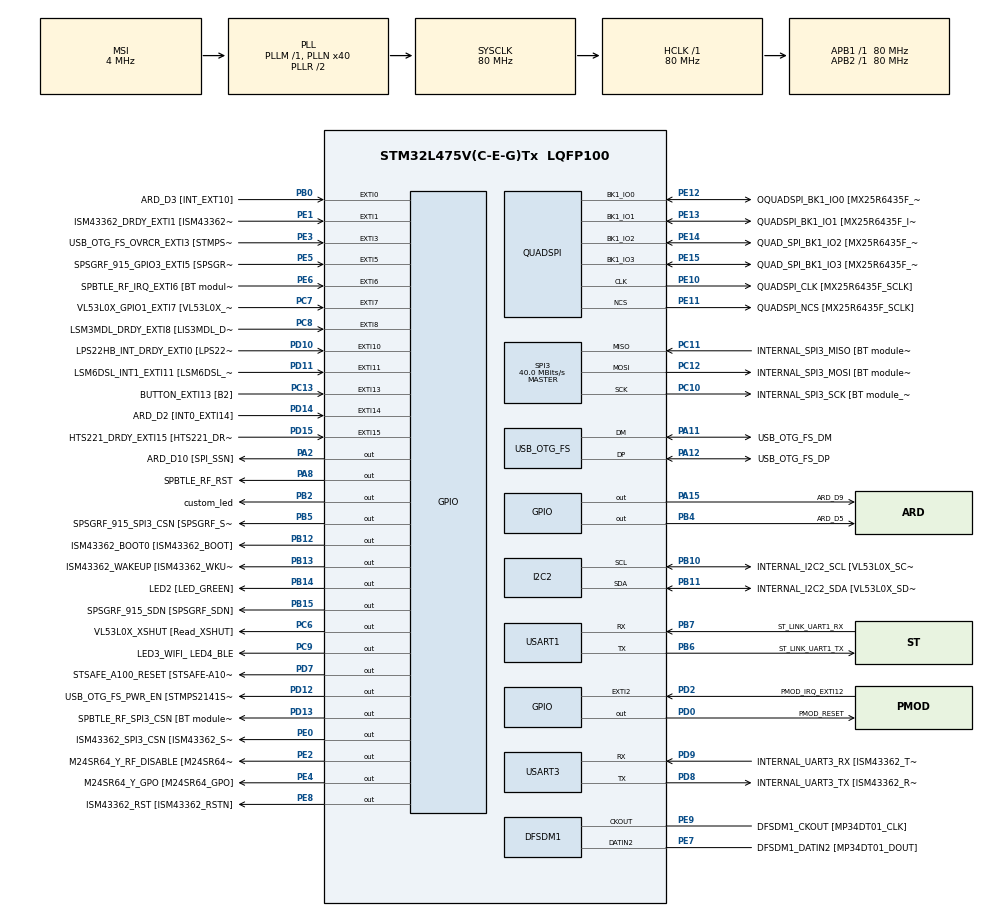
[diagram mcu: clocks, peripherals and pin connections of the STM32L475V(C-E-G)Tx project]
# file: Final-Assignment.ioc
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I2C2.Timing=0x10909CEC
Mcu.Family=STM32L4
Mcu.Name=STM32L475V(C-E-G)Tx
Mcu.Package=LQFP100
NVIC.EXTI15_10_IRQn=true\:0\:0\:false\:false\:true\:true\:true\:true
NVIC.EXTI9_5_IRQn=true\:0\:0\:false\:false\:true\:true\:true\:true
NVIC.PriorityGroup=NVIC_PRIORITYGROUP_4
PA0.GPIO_Label=ARD_D1 [UART4_TX]
PA0.Signal=UART4_TX
PA1.GPIO_Label=ARD_D0 [UART4_RX]
PA1.Signal=UART4_RX
PA10.GPIO_Label=USB_OTG_FS_ID
PA10.Signal=USB_OTG_FS_ID
PA11.GPIO_Label=USB_OTG_FS_DM
PA11.Mode=Device_Only
PA11.Signal=USB_OTG_FS_DM
PA12.GPIO_Label=USB_OTG_FS_DP
PA12.Mode=Device_Only
PA12.Signal=USB_OTG_FS_DP
PA13\ (JTMS-SWDIO).GPIO_Label=SYS_JTMS_SWDIO
PA13\ (JTMS-SWDIO).Mode=Serial_Wire
PA13\ (JTMS-SWDIO).Signal=SYS_JTMS-SWDIO
PA14\ (JTCK-SWCLK).GPIO_Label=SYS_JTCK_SWCLK
PA14\ (JTCK-SWCLK).Mode=Serial_Wire
PA14\ (JTCK-SWCLK).Signal=SYS_JTCK-SWCLK
PA15\ (JTDI).GPIO_Label=ARD_D9
PA15\ (JTDI).Signal=GPIO_Output
PA2.GPIO_Label=ARD_D10 [SPI_SSN]
PA2.Signal=GPIO_Output
PA3.GPIO_Label=ARD_D4
PA3.Signal=S_TIM2_CH4
PA4.GPIO_Label=ARD_D7
PA4.Signal=ADCx_IN9
PA5.GPIO_Label=ARD_D13 [SPI1_SCK]
PA5.Signal=SPI1_SCK
PA6.GPIO_Label=ARD_D12 [SPI1_MISO]
PA6.Signal=SPI1_MISO
PA7.GPIO_Label=ARD_D11 [SPI1_MOSI]
PA7.Signal=SPI1_MOSI
PA8.GPIO_Label=SPBTLE_RF_RST
PA8.Signal=GPIO_Output
PA9.GPIO_Label=USB_OTG_FS_VBUS [STMPS2141STR_OUT]
PA9.Signal=USB_OTG_FS_VBUS
PB0.GPIO_Label=ARD_D3 [INT_EXT10]
PB0.Signal=GPXTI0
PB1.GPIO_Label=ARD_D6 [ADC1_IN6]
PB1.Signal=ADCx_IN16
PB10.GPIO_Label=INTERNAL_I2C2_SCL [VL53L0X_SCL]
PB10.GPIO_Pu=GPIO_PULLUP
PB10.Mode=I2C
PB10.Signal=I2C2_SCL
PB11.GPIO_Label=INTERNAL_I2C2_SDA [VL53L0X_SDA]
PB11.GPIO_Pu=GPIO_PULLUP
PB11.Mode=I2C
PB11.Signal=I2C2_SDA
PB12.GPIO_Label=ISM43362_BOOT0 [ISM43362_BOOT]
PB12.Signal=GPIO_Output
PB13.GPIO_Label=ISM43362_WAKEUP [ISM43362_WKUP]
PB13.Signal=GPIO_Output
PB14.GPIO_Label=LED2 [LED_GREEN]
PB14.Signal=GPIO_Output
PB15.GPIO_Label=SPSGRF_915_SDN [SPSGRF_SDN]
PB15.Signal=GPIO_Output
PB2.GPIO_Label=custom_led
PB2.Signal=GPIO_Output
PB3\ (JTDO-TRACESWO).GPIO_Label=SYS_JTD0_SWO
PB3\ (JTDO-TRACESWO).Signal=SYS_JTDO-SWO
PB4\ (NJTRST).GPIO_Label=ARD_D5
PB4\ (NJTRST).Signal=GPIO_Output
PB5.GPIO_Label=SPSGRF_915_SPI3_CSN [SPSGRF_SPI_CS]
PB5.PinState=GPIO_PIN_SET
PB5.Signal=GPIO_Output
PB6.GPIO_Label=ST_LINK_UART1_TX
PB6.Mode=Asynchronous
PB6.Signal=USART1_TX
PB7.GPIO_Label=ST_LINK_UART1_RX
PB7.Mode=Asynchronous
PB7.Signal=USART1_RX
PB8.GPIO_Label=ARD_D15 [I2C1_SCL]
PB8.Signal=I2C1_SCL
PB9.GPIO_Label=ARD_D14 [I2C1_SDA]
PB9.Signal=I2C1_SDA
PC0.GPIO_Label=ARD_A5 [ADC]
PC0.Signal=ADCx_IN1
PC1.GPIO_Label=ARD_A4 [ADC]
PC1.Signal=ADCx_IN2
PC10.GPIO_Label=INTERNAL_SPI3_SCK [BT module_SPI_SCLK] [ISM43362_SCK]
PC10.Mode=Full_Duplex_Master
PC10.Signal=SPI3_SCK
PC11.GPIO_Label=INTERNAL_SPI3_MISO [BT module_SPI_MISO] [ISM43362_MISO]
PC11.Mode=Full_Duplex_Master
PC11.Signal=SPI3_MISO
PC12.GPIO_Label=INTERNAL_SPI3_MOSI [BT module_SPI_MOSI] [ISM43362_MOSI]
PC12.Mode=Full_Duplex_Master
PC12.Signal=SPI3_MOSI
PC13.GPIO_Label=BUTTON_EXTI13 [B2]
PC13.GPIO_ModeDefaultEXTI=GPIO_MODE_IT_FALLING
PC13.Signal=GPXTI13
PC14-OSC32_IN\ (PC14).Mode=LSE-External-Oscillator
PC14-OSC32_IN\ (PC14).Signal=RCC_OSC32_IN
PC15-OSC32_OUT\ (PC15).Mode=LSE-External-Oscillator
PC15-OSC32_OUT\ (PC15).Signal=RCC_OSC32_OUT
PC2.GPIO_Label=ARD_A3 [ADC]
PC2.Signal=ADCx_IN3
PC3.GPIO_Label=ARD_A2 [ADC]
PC3.Signal=ADCx_IN4
PC4.GPIO_Label=ARD_A1 [ADC]
PC4.Signal=ADCx_IN13
PC5.GPIO_Label=ARD_A0 [ADC]
PC5.Signal=ADCx_IN14
PC6.GPIO_Label=VL53L0X_XSHUT [Read_XSHUT]
PC6.Signal=GPIO_Output
PC7.GPIO_Label=VL53L0X_GPIO1_EXTI7 [VL53L0X_GPIO1]
PC7.Signal=GPXTI7
PC8.GPIO_Label=LSM3MDL_DRDY_EXTI8 [LIS3MDL_DRDY]
PC8.Signal=GPXTI8
PC9.GPIO_Label=LED3_WIFI_ LED4_BLE
PC9.Signal=GPIO_Output
PD0.GPIO_Label=PMOD_RESET
PD0.Signal=GPIO_Output
PD1.GPIO_Label=PMOD_SPI2_SCK
PD1.Signal=SPI2_SCK
PD10.GPIO_Label=LPS22HB_INT_DRDY_EXTI0 [LPS22HB_INT_DRDY] 
PD10.Signal=GPXTI10
PD11.GPIO_Label=LSM6DSL_INT1_EXTI11 [LSM6DSL_INT1]
PD11.Signal=GPXTI11
PD12.GPIO_Label=USB_OTG_FS_PWR_EN [STMPS2141STR_EN]
PD12.Signal=GPIO_Output
PD13.GPIO_Label=SPBTLE_RF_SPI3_CSN [BT module_SPI_CS]
PD13.PinState=GPIO_PIN_SET
PD13.Signal=GPIO_Output
PD14.GPIO_Label=ARD_D2 [INT0_EXTI14]
PD14.Signal=GPXTI14
PD15.GPIO_Label=HTS221_DRDY_EXTI15 [HTS221_DRDY]
PD15.Signal=GPXTI15
PD2.GPIO_Label=PMOD_IRQ_EXTI12
PD2.Signal=GPXTI2
PD3.GPIO_Label=PMOD_UART2_CTS
PD3.Signal=USART2_CTS
PD4.GPIO_Label=PMOD_UART2_RTS
PD4.Signal=USART2_RTS
PD5.GPIO_Label=PMOD_UART2_TX
PD5.Signal=USART2_TX
PD6.GPIO_Label=PMOD_UART2_RX
PD6.Signal=USART2_RX
PD7.GPIO_Label=STSAFE_A100_RESET [STSAFE-A100_RESET]
PD7.Signal=GPIO_Output
PD8.GPIO_Label=INTERNAL_UART3_TX [ISM43362_RX]
PD8.Mode=Asynchronous
PD8.Signal=USART3_TX
PD9.GPIO_Label=INTERNAL_UART3_RX [ISM43362_TX]
PD9.Mode=Asynchronous
PD9.Signal=USART3_RX
PE0.GPIO_Label=ISM43362_SPI3_CSN [ISM43362_SSN]
PE0.PinState=GPIO_PIN_SET
PE0.Signal=GPIO_Output
PE1.GPIO_Label=ISM43362_DRDY_EXTI1 [ISM43362_DATARDY]
PE1.Signal=GPXTI1
PE10.GPIO_Label=QUADSPI_CLK [MX25R6435F_SCLK]
PE10.Mode=Single Bank
PE10.Signal=QUADSPI_CLK
PE11.GPIO_Label=QUADSPI_NCS [MX25R6435F_SCLK]
PE11.Mode=Single Bank
PE11.Signal=QUADSPI_NCS
PE12.GPIO_Label=OQUADSPI_BK1_IO0 [MX25R6435F_IO0]
PE12.Mode=Single Bank
PE12.Signal=QUADSPI_BK1_IO0
PE13.GPIO_Label=QUADSPI_BK1_IO1 [MX25R6435F_IO1]
PE13.Mode=Single Bank
PE13.Signal=QUADSPI_BK1_IO1
PE14.GPIO_Label=QUAD_SPI_BK1_IO2 [MX25R6435F_IO2]
PE14.Mode=Single Bank
PE14.Signal=QUADSPI_BK1_IO2
PE15.GPIO_Label=QUAD_SPI_BK1_IO3 [MX25R6435F_IO3]
PE15.Mode=Single Bank
PE15.Signal=QUADSPI_BK1_IO3
PE2.GPIO_Label=M24SR64_Y_RF_DISABLE [M24SR64_RFDIS]
PE2.Signal=GPIO_Output
PE3.GPIO_Label=USB_OTG_FS_OVRCR_EXTI3 [STMPS2141STR_FAULT]
PE3.Signal=GPXTI3
PE4.GPIO_Label=M24SR64_Y_GPO [M24SR64_GPO]
PE4.Signal=GPIO_Output
PE5.GPIO_Label=SPSGRF_915_GPIO3_EXTI5 [SPSGRF_GPIO_3]
PE5.Signal=GPXTI5
PE6.GPIO_Label=SPBTLE_RF_IRQ_EXTI6 [BT module_SPI_IRQ]
PE6.Signal=GPXTI6
PE7.GPIO_Label=DFSDM1_DATIN2 [MP34DT01_DOUT]
PE7.Signal=S_DATAIN2DFSDM1
PE8.GPIO_Label=ISM43362_RST [ISM43362_RSTN]
PE8.Signal=GPIO_Output
PE9.GPIO_Label=DFSDM1_CKOUT [MP34DT01_CLK]
PE9.Signal=S_CKOUTDFSDM1
ProjectManager.HeapSize=0x200
ProjectManager.StackSize=0x400
ProjectManager.TargetToolchain=STM32CubeIDE
QUADSPI.ClockPrescaler=2
QUADSPI.FifoThreshold=4
QUADSPI.FlashSize=23
QUADSPI.SampleShifting=QSPI_SAMPLE_SHIFTING_HALFCYCLE
RCC.ADCFreq_Value=48000000
RCC.AHBFreq_Value=80000000
RCC.APB1Freq_Value=80000000
RCC.APB1TimFreq_Value=80000000
RCC.APB2Freq_Value=80000000
RCC.APB2TimFreq_Value=80000000
RCC.CortexFreq_Value=80000000
RCC.HCLKFreq_Value=80000000
RCC.HSE_VALUE=8000000
RCC.HSI_VALUE=16000000
RCC.MSI_VALUE=4000000
RCC.PLLN=40
RCC.PLLSAI1N=24
RCC.SYSCLKFreq_VALUE=80000000
RCC.SYSCLKSource=RCC_SYSCLKSOURCE_PLLCLK
RCC.USBFreq_Value=48000000
RCC.VCOOutputFreq_Value=160000000
SH.ADCx_IN1.0=ADC1_IN1
SH.ADCx_IN13.0=ADC1_IN13
SH.ADCx_IN14.0=ADC1_IN14
SH.ADCx_IN16.0=ADC1_IN16
SH.ADCx_IN2.0=ADC1_IN2
SH.ADCx_IN3.0=ADC1_IN3
SH.ADCx_IN4.0=ADC1_IN4
SH.ADCx_IN9.0=ADC1_IN9
SH.S_CKOUTDFSDM1.0=DFSDM1_CKOUT,CKOUT
SH.S_CKOUTDFSDM1.1=DFSDM1_CKOUT,PDM_SPI_Input_from_ch12_and_Internal_Clock
SH.S_DATAIN2DFSDM1.0=DFSDM1_DATIN2,PDM_SPI_Input_from_ch12_and_Internal_Clock
SH.S_TIM2_CH4.0=TIM2_CH4
SPI3.CalculateBaudRate=40.0 MBits/s
SPI3.Direction=SPI_DIRECTION_2LINES
SPI3.Mode=SPI_MODE_MASTER
SPI3.VirtualType=VM_MASTER
USART1.VirtualMode-Asynchronous=VM_ASYNC
USART3.VirtualMode-Asynchronous=VM_ASYNC
USB_OTG_FS.VirtualMode=Device_Only
board=B-L475E-IOT01A2

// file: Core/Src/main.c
/* USER CODE BEGIN Header */
/**
  ******************************************************************************
  * @file           : main.c
  * @brief          : Main program body
  ******************************************************************************
  * @attention
  *
  * Copyright (c) 2023 STMicroelectronics.
  * All rights reserved.
  *
  * This software is licensed under terms that can be found in the LICENSE file
  * in the root directory of this software component.
  * If no LICENSE file comes with this software, it is provided AS-IS.
  *
  ******************************************************************************
  */
/* USER CODE END Header */
#include "main.h"

/* USER CODE BEGIN Includes */
#include <string.h>
#include <stdio.h>
#include <math.h>
#include "stm32l475e_iot01.h"
#include "stm32l475e_iot01_tsensor.h"
/* USER CODE END Includes */

DFSDM_Channel_HandleTypeDef hdfsdm1_channel1;

I2C_HandleTypeDef hi2c2;

QSPI_HandleTypeDef hqspi;

SPI_HandleTypeDef hspi3;

UART_HandleTypeDef huart1;
UART_HandleTypeDef huart3;

PCD_HandleTypeDef hpcd_USB_OTG_FS;

/* USER CODE BEGIN PV */
uint8_t demo0_count = 0;
uint8_t demo1_count = 0;
uint8_t demo_count = 0;
char buf[100];
/* USER CODE END PV */

void SystemClock_Config(void);
static void MX_GPIO_Init(void);
static void MX_DFSDM1_Init(void);
static void MX_I2C2_Init(void);
static void MX_QUADSPI_Init(void);
static void MX_SPI3_Init(void);
static void MX_USART1_UART_Init(void);
static void MX_USART3_UART_Init(void);
static void MX_USB_OTG_FS_PCD_Init(void);

int main(void)
{

  /* MCU Configuration--------------------------------------------------------*/

  /* Reset of all peripherals, Initializes the Flash interface and the Systick. */
  HAL_Init();

  /* Configure the system clock */
  SystemClock_Config();

  /* Initialize all configured peripherals */
  MX_GPIO_Init();
  MX_DFSDM1_Init();
  MX_I2C2_Init();
  MX_QUADSPI_Init();
  MX_SPI3_Init();
  MX_USART1_UART_Init();
  MX_USART3_UART_Init();
  MX_USB_OTG_FS_PCD_Init();
  /* USER CODE BEGIN 2 */
  BSP_TSENSOR_Init();
  /* USER CODE END 2 */

  /* Infinite loop */
  while (1)
  {

    /* USER CODE BEGIN 3 */
	switch(demo_count)
	{
		case 0:
		{
			if(demo0_count == 0)
			{
				uint32_t flashSize = LL_GetFlashSize();
				uint32_t deviceID0 = LL_GetUID_Word0();
				uint32_t deviceID1 = LL_GetUID_Word1();
				uint32_t deviceID2 = LL_GetUID_Word2();
				sprintf(buf, "LL flash size is; %lu\r\n", flashSize);
				HAL_UART_Transmit(&huart1, (uint8_t*)buf, strlen(buf), HAL_MAX_DELAY);
				sprintf(buf, "LL device ID 0 is; %lu\r\n", deviceID0);
				HAL_UART_Transmit(&huart1, (uint8_t*)buf, strlen(buf), HAL_MAX_DELAY);
				sprintf(buf, "LL device ID 1 is; %lu\r\n", deviceID1);
				HAL_UART_Transmit(&huart1, (uint8_t*)buf, strlen(buf), HAL_MAX_DELAY);
				sprintf(buf, "LL device ID 2 is; %lu\r\n", deviceID2);
				HAL_UART_Transmit(&huart1, (uint8_t*)buf, strlen(buf), HAL_MAX_DELAY);
				demo0_count++;
			}
			LL_GPIO_TogglePin(LED2_GPIO_Port, LED2_Pin);
			HAL_Delay(1000);
			break;
		}
		case 1:
		{
			if(demo1_count == 0)
			{
				uint32_t DeviceID = HAL_GetDEVID();
				uint32_t deviceUID0 = HAL_GetUIDw0();
				uint32_t deviceUID1 = HAL_GetUIDw1();
				uint32_t deviceUID2 = HAL_GetUIDw2();

				sprintf(buf, "HAL device ID is; %lu\r\n", DeviceID);
				HAL_UART_Transmit(&huart1, (uint8_t*)buf, strlen(buf), HAL_MAX_DELAY);
				sprintf(buf, "HAL unique device ID 0 is; %lu\r\n", deviceUID0);
				HAL_UART_Transmit(&huart1, (uint8_t*)buf, strlen(buf), HAL_MAX_DELAY);
				sprintf(buf, "HAL unique device ID 1 is; %lu\r\n", deviceUID1);
				HAL_UART_Transmit(&huart1, (uint8_t*)buf, strlen(buf), HAL_MAX_DELAY);
				sprintf(buf, "HAL unique device ID 2 is; %lu\r\n", deviceUID2);
				HAL_UART_Transmit(&huart1, (uint8_t*)buf, strlen(buf), HAL_MAX_DELAY);
				demo1_count++;
			}
			HAL_GPIO_TogglePin(LED2_GPIO_Port, LED2_Pin);
			HAL_Delay(2000);
			break;
		}
		case 2:
		{
			float temp = BSP_TSENSOR_ReadTemp();
			int tempInt1 = temp;
			float tempFrac = temp - tempInt1;
			int tempInt2 = trunc(tempFrac * 100);
			sprintf(buf, "Temperature is : %d.%02d\r\n", tempInt1, tempInt2);
			HAL_UART_Transmit(&huart1, (uint8_t*)buf, strlen(buf), HAL_MAX_DELAY);
			BSP_LED_Toggle(LED2);
			HAL_Delay(3000);
			break;
		}
		case 3:
		{
			HAL_GPIO_TogglePin(custom_led_GPIO_Port, custom_led_Pin);
			HAL_Delay(4000);
			break;
		}
		default:
			break;
	}
  }
  /* USER CODE END 3 */
}

void SystemClock_Config(void)
{
  RCC_OscInitTypeDef RCC_OscInitStruct = {0};
  RCC_ClkInitTypeDef RCC_ClkInitStruct = {0};

  /** Configure the main internal regulator output voltage
  */
  if (HAL_PWREx_ControlVoltageScaling(PWR_REGULATOR_VOLTAGE_SCALE1) != HAL_OK)
  {
    Error_Handler();
  }

  /** Configure LSE Drive Capability
  */
  HAL_PWR_EnableBkUpAccess();
  __HAL_RCC_LSEDRIVE_CONFIG(RCC_LSEDRIVE_LOW);

  /** Initializes the RCC Oscillators according to the specified parameters
  * in the RCC_OscInitTypeDef structure.
  */
  RCC_OscInitStruct.OscillatorType = RCC_OSCILLATORTYPE_LSE|RCC_OSCILLATORTYPE_MSI;
  RCC_OscInitStruct.LSEState = RCC_LSE_ON;
  RCC_OscInitStruct.MSIState = RCC_MSI_ON;
  RCC_OscInitStruct.MSICalibrationValue = 0;
  RCC_OscInitStruct.MSIClockRange = RCC_MSIRANGE_6;
  RCC_OscInitStruct.PLL.PLLState = RCC_PLL_ON;
  RCC_OscInitStruct.PLL.PLLSource = RCC_PLLSOURCE_MSI;
  RCC_OscInitStruct.PLL.PLLM = 1;
  RCC_OscInitStruct.PLL.PLLN = 40;
  RCC_OscInitStruct.PLL.PLLP = RCC_PLLP_DIV7;
  RCC_OscInitStruct.PLL.PLLQ = RCC_PLLQ_DIV2;
  RCC_OscInitStruct.PLL.PLLR = RCC_PLLR_DIV2;
  if (HAL_RCC_OscConfig(&RCC_OscInitStruct) != HAL_OK)
  {
    Error_Handler();
  }

  /** Initializes the CPU, AHB and APB buses clocks
  */
  RCC_ClkInitStruct.ClockType = RCC_CLOCKTYPE_HCLK|RCC_CLOCKTYPE_SYSCLK
                              |RCC_CLOCKTYPE_PCLK1|RCC_CLOCKTYPE_PCLK2;
  RCC_ClkInitStruct.SYSCLKSource = RCC_SYSCLKSOURCE_PLLCLK;
  RCC_ClkInitStruct.AHBCLKDivider = RCC_SYSCLK_DIV1;
  RCC_ClkInitStruct.APB1CLKDivider = RCC_HCLK_DIV1;
  RCC_ClkInitStruct.APB2CLKDivider = RCC_HCLK_DIV1;

  if (HAL_RCC_ClockConfig(&RCC_ClkInitStruct, FLASH_LATENCY_4) != HAL_OK)
  {
    Error_Handler();
  }

  /** Enable MSI Auto calibration
  */
  HAL_RCCEx_EnableMSIPLLMode();
}

static void MX_DFSDM1_Init(void)
{

  hdfsdm1_channel1.Instance = DFSDM1_Channel1;
  hdfsdm1_channel1.Init.OutputClock.Activation = ENABLE;
  hdfsdm1_channel1.Init.OutputClock.Selection = DFSDM_CHANNEL_OUTPUT_CLOCK_SYSTEM;
  hdfsdm1_channel1.Init.OutputClock.Divider = 2;
  hdfsdm1_channel1.Init.Input.Multiplexer = DFSDM_CHANNEL_EXTERNAL_INPUTS;
  hdfsdm1_channel1.Init.Input.DataPacking = DFSDM_CHANNEL_STANDARD_MODE;
  hdfsdm1_channel1.Init.Input.Pins = DFSDM_CHANNEL_FOLLOWING_CHANNEL_PINS;
  hdfsdm1_channel1.Init.SerialInterface.Type = DFSDM_CHANNEL_SPI_RISING;
  hdfsdm1_channel1.Init.SerialInterface.SpiClock = DFSDM_CHANNEL_SPI_CLOCK_INTERNAL;
  hdfsdm1_channel1.Init.Awd.FilterOrder = DFSDM_CHANNEL_FASTSINC_ORDER;
  hdfsdm1_channel1.Init.Awd.Oversampling = 1;
  hdfsdm1_channel1.Init.Offset = 0;
  hdfsdm1_channel1.Init.RightBitShift = 0x00;
  if (HAL_DFSDM_ChannelInit(&hdfsdm1_channel1) != HAL_OK)
  {
    Error_Handler();
  }

}

static void MX_I2C2_Init(void)
{

  hi2c2.Instance = I2C2;
  hi2c2.Init.Timing = 0x10909CEC;
  hi2c2.Init.OwnAddress1 = 0;
  hi2c2.Init.AddressingMode = I2C_ADDRESSINGMODE_7BIT;
  hi2c2.Init.DualAddressMode = I2C_DUALADDRESS_DISABLE;
  hi2c2.Init.OwnAddress2 = 0;
  hi2c2.Init.OwnAddress2Masks = I2C_OA2_NOMASK;
  hi2c2.Init.GeneralCallMode = I2C_GENERALCALL_DISABLE;
  hi2c2.Init.NoStretchMode = I2C_NOSTRETCH_DISABLE;
  if (HAL_I2C_Init(&hi2c2) != HAL_OK)
  {
    Error_Handler();
  }

  /** Configure Analogue filter
  */
  if (HAL_I2CEx_ConfigAnalogFilter(&hi2c2, I2C_ANALOGFILTER_ENABLE) != HAL_OK)
  {
    Error_Handler();
  }

  /** Configure Digital filter
  */
  if (HAL_I2CEx_ConfigDigitalFilter(&hi2c2, 0) != HAL_OK)
  {
    Error_Handler();
  }

}

static void MX_QUADSPI_Init(void)
{

  /* QUADSPI parameter configuration*/
  hqspi.Instance = QUADSPI;
  hqspi.Init.ClockPrescaler = 2;
  hqspi.Init.FifoThreshold = 4;
  hqspi.Init.SampleShifting = QSPI_SAMPLE_SHIFTING_HALFCYCLE;
  hqspi.Init.FlashSize = 23;
  hqspi.Init.ChipSelectHighTime = QSPI_CS_HIGH_TIME_1_CYCLE;
  hqspi.Init.ClockMode = QSPI_CLOCK_MODE_0;
  if (HAL_QSPI_Init(&hqspi) != HAL_OK)
  {
    Error_Handler();
  }

}

static void MX_SPI3_Init(void)
{

  /* SPI3 parameter configuration*/
  hspi3.Instance = SPI3;
  hspi3.Init.Mode = SPI_MODE_MASTER;
  hspi3.Init.Direction = SPI_DIRECTION_2LINES;
  hspi3.Init.DataSize = SPI_DATASIZE_4BIT;
  hspi3.Init.CLKPolarity = SPI_POLARITY_LOW;
  hspi3.Init.CLKPhase = SPI_PHASE_1EDGE;
  hspi3.Init.NSS = SPI_NSS_SOFT;
  hspi3.Init.BaudRatePrescaler = SPI_BAUDRATEPRESCALER_2;
  hspi3.Init.FirstBit = SPI_FIRSTBIT_MSB;
  hspi3.Init.TIMode = SPI_TIMODE_DISABLE;
  hspi3.Init.CRCCalculation = SPI_CRCCALCULATION_DISABLE;
  hspi3.Init.CRCPolynomial = 7;
  hspi3.Init.CRCLength = SPI_CRC_LENGTH_DATASIZE;
  hspi3.Init.NSSPMode = SPI_NSS_PULSE_ENABLE;
  if (HAL_SPI_Init(&hspi3) != HAL_OK)
  {
    Error_Handler();
  }

}

static void MX_USART1_UART_Init(void)
{

  huart1.Instance = USART1;
  huart1.Init.BaudRate = 115200;
  huart1.Init.WordLength = UART_WORDLENGTH_8B;
  huart1.Init.StopBits = UART_STOPBITS_1;
  huart1.Init.Parity = UART_PARITY_NONE;
  huart1.Init.Mode = UART_MODE_TX_RX;
  huart1.Init.HwFlowCtl = UART_HWCONTROL_NONE;
  huart1.Init.OverSampling = UART_OVERSAMPLING_16;
  huart1.Init.OneBitSampling = UART_ONE_BIT_SAMPLE_DISABLE;
  huart1.AdvancedInit.AdvFeatureInit = UART_ADVFEATURE_NO_INIT;
  if (HAL_UART_Init(&huart1) != HAL_OK)
  {
    Error_Handler();
  }

}

static void MX_USART3_UART_Init(void)
{

  huart3.Instance = USART3;
  huart3.Init.BaudRate = 115200;
  huart3.Init.WordLength = UART_WORDLENGTH_8B;
  huart3.Init.StopBits = UART_STOPBITS_1;
  huart3.Init.Parity = UART_PARITY_NONE;
  huart3.Init.Mode = UART_MODE_TX_RX;
  huart3.Init.HwFlowCtl = UART_HWCONTROL_NONE;
  huart3.Init.OverSampling = UART_OVERSAMPLING_16;
  huart3.Init.OneBitSampling = UART_ONE_BIT_SAMPLE_DISABLE;
  huart3.AdvancedInit.AdvFeatureInit = UART_ADVFEATURE_NO_INIT;
  if (HAL_UART_Init(&huart3) != HAL_OK)
  {
    Error_Handler();
  }

}

static void MX_USB_OTG_FS_PCD_Init(void)
{

  hpcd_USB_OTG_FS.Instance = USB_OTG_FS;
  hpcd_USB_OTG_FS.Init.dev_endpoints = 6;
  hpcd_USB_OTG_FS.Init.speed = PCD_SPEED_FULL;
  hpcd_USB_OTG_FS.Init.phy_itface = PCD_PHY_EMBEDDED;
  hpcd_USB_OTG_FS.Init.Sof_enable = DISABLE;
  hpcd_USB_OTG_FS.Init.low_power_enable = DISABLE;
  hpcd_USB_OTG_FS.Init.lpm_enable = DISABLE;
  hpcd_USB_OTG_FS.Init.battery_charging_enable = DISABLE;
  hpcd_USB_OTG_FS.Init.use_dedicated_ep1 = DISABLE;
  hpcd_USB_OTG_FS.Init.vbus_sensing_enable = DISABLE;
  if (HAL_PCD_Init(&hpcd_USB_OTG_FS) != HAL_OK)
  {
    Error_Handler();
  }

}

static void MX_GPIO_Init(void)
{
  GPIO_InitTypeDef GPIO_InitStruct = {0};

  /* GPIO Ports Clock Enable */
  __HAL_RCC_GPIOE_CLK_ENABLE();
  __HAL_RCC_GPIOC_CLK_ENABLE();
  __HAL_RCC_GPIOA_CLK_ENABLE();
  __HAL_RCC_GPIOB_CLK_ENABLE();
  __HAL_RCC_GPIOD_CLK_ENABLE();

  /*Configure GPIO pin Output Level */
  HAL_GPIO_WritePin(GPIOE, M24SR64_Y_RF_DISABLE_Pin|M24SR64_Y_GPO_Pin|ISM43362_RST_Pin, GPIO_PIN_RESET);

  /*Configure GPIO pin Output Level */
  HAL_GPIO_WritePin(GPIOA, ARD_D10_Pin|SPBTLE_RF_RST_Pin|ARD_D9_Pin, GPIO_PIN_RESET);

  /*Configure GPIO pin Output Level */
  HAL_GPIO_WritePin(GPIOB, custom_led_Pin|ISM43362_BOOT0_Pin|ISM43362_WAKEUP_Pin|LED2_Pin
                          |SPSGRF_915_SDN_Pin|ARD_D5_Pin, GPIO_PIN_RESET);

  /*Configure GPIO pin Output Level */
  HAL_GPIO_WritePin(GPIOD, USB_OTG_FS_PWR_EN_Pin|PMOD_RESET_Pin|STSAFE_A100_RESET_Pin, GPIO_PIN_RESET);

  /*Configure GPIO pin Output Level */
  HAL_GPIO_WritePin(SPBTLE_RF_SPI3_CSN_GPIO_Port, SPBTLE_RF_SPI3_CSN_Pin, GPIO_PIN_SET);

  /*Configure GPIO pin Output Level */
  HAL_GPIO_WritePin(GPIOC, VL53L0X_XSHUT_Pin|LED3_WIFI__LED4_BLE_Pin, GPIO_PIN_RESET);

  /*Configure GPIO pin Output Level */
  HAL_GPIO_WritePin(SPSGRF_915_SPI3_CSN_GPIO_Port, SPSGRF_915_SPI3_CSN_Pin, GPIO_PIN_SET);

  /*Configure GPIO pin Output Level */
  HAL_GPIO_WritePin(ISM43362_SPI3_CSN_GPIO_Port, ISM43362_SPI3_CSN_Pin, GPIO_PIN_SET);

  /*Configure GPIO pins : M24SR64_Y_RF_DISABLE_Pin M24SR64_Y_GPO_Pin ISM43362_RST_Pin ISM43362_SPI3_CSN_Pin */
  GPIO_InitStruct.Pin = M24SR64_Y_RF_DISABLE_Pin|M24SR64_Y_GPO_Pin|ISM43362_RST_Pin|ISM43362_SPI3_CSN_Pin;
  GPIO_InitStruct.Mode = GPIO_MODE_OUTPUT_PP;
  GPIO_InitStruct.Pull = GPIO_NOPULL;
  GPIO_InitStruct.Speed = GPIO_SPEED_FREQ_LOW;
  HAL_GPIO_Init(GPIOE, &GPIO_InitStruct);

  /*Configure GPIO pins : USB_OTG_FS_OVRCR_EXTI3_Pin SPSGRF_915_GPIO3_EXTI5_Pin SPBTLE_RF_IRQ_EXTI6_Pin ISM43362_DRDY_EXTI1_Pin */
  GPIO_InitStruct.Pin = USB_OTG_FS_OVRCR_EXTI3_Pin|SPSGRF_915_GPIO3_EXTI5_Pin|SPBTLE_RF_IRQ_EXTI6_Pin|ISM43362_DRDY_EXTI1_Pin;
  GPIO_InitStruct.Mode = GPIO_MODE_IT_RISING;
  GPIO_InitStruct.Pull = GPIO_NOPULL;
  HAL_GPIO_Init(GPIOE, &GPIO_InitStruct);

  /*Configure GPIO pin : BUTTON_EXTI13_Pin */
  GPIO_InitStruct.Pin = BUTTON_EXTI13_Pin;
  GPIO_InitStruct.Mode = GPIO_MODE_IT_FALLING;
  GPIO_InitStruct.Pull = GPIO_NOPULL;
  HAL_GPIO_Init(BUTTON_EXTI13_GPIO_Port, &GPIO_InitStruct);

  /*Configure GPIO pins : ARD_A5_Pin ARD_A4_Pin ARD_A3_Pin ARD_A2_Pin
                           ARD_A1_Pin ARD_A0_Pin */
  GPIO_InitStruct.Pin = ARD_A5_Pin|ARD_A4_Pin|ARD_A3_Pin|ARD_A2_Pin
                          |ARD_A1_Pin|ARD_A0_Pin;
  GPIO_InitStruct.Mode = GPIO_MODE_ANALOG_ADC_CONTROL;
  GPIO_InitStruct.Pull = GPIO_NOPULL;
  HAL_GPIO_Init(GPIOC, &GPIO_InitStruct);

  /*Configure GPIO pins : ARD_D1_Pin ARD_D0_Pin */
  GPIO_InitStruct.Pin = ARD_D1_Pin|ARD_D0_Pin;
  GPIO_InitStruct.Mode = GPIO_MODE_AF_PP;
  GPIO_InitStruct.Pull = GPIO_NOPULL;
  GPIO_InitStruct.Speed = GPIO_SPEED_FREQ_VERY_HIGH;
  GPIO_InitStruct.Alternate = GPIO_AF8_UART4;
  HAL_GPIO_Init(GPIOA, &GPIO_InitStruct);

  /*Configure GPIO pins : ARD_D10_Pin SPBTLE_RF_RST_Pin ARD_D9_Pin */
  GPIO_InitStruct.Pin = ARD_D10_Pin|SPBTLE_RF_RST_Pin|ARD_D9_Pin;
  GPIO_InitStruct.Mode = GPIO_MODE_OUTPUT_PP;
  GPIO_InitStruct.Pull = GPIO_NOPULL;
  GPIO_InitStruct.Speed = GPIO_SPEED_FREQ_LOW;
  HAL_GPIO_Init(GPIOA, &GPIO_InitStruct);

  /*Configure GPIO pin : ARD_D4_Pin */
  GPIO_InitStruct.Pin = ARD_D4_Pin;
  GPIO_InitStruct.Mode = GPIO_MODE_AF_PP;
  GPIO_InitStruct.Pull = GPIO_NOPULL;
  GPIO_InitStruct.Speed = GPIO_SPEED_FREQ_LOW;
  GPIO_InitStruct.Alternate = GPIO_AF1_TIM2;
  HAL_GPIO_Init(ARD_D4_GPIO_Port, &GPIO_InitStruct);

  /*Configure GPIO pin : ARD_D7_Pin */
  GPIO_InitStruct.Pin = ARD_D7_Pin;
  GPIO_InitStruct.Mode = GPIO_MODE_ANALOG_ADC_CONTROL;
  GPIO_InitStruct.Pull = GPIO_NOPULL;
  HAL_GPIO_Init(ARD_D7_GPIO_Port, &GPIO_InitStruct);

  /*Configure GPIO pins : ARD_D13_Pin ARD_D12_Pin ARD_D11_Pin */
  GPIO_InitStruct.Pin = ARD_D13_Pin|ARD_D12_Pin|ARD_D11_Pin;
  GPIO_InitStruct.Mode = GPIO_MODE_AF_PP;
  GPIO_InitStruct.Pull = GPIO_NOPULL;
  GPIO_InitStruct.Speed = GPIO_SPEED_FREQ_VERY_HIGH;
  GPIO_InitStruct.Alternate = GPIO_AF5_SPI1;
  HAL_GPIO_Init(GPIOA, &GPIO_InitStruct);

  /*Configure GPIO pin : ARD_D3_Pin */
  GPIO_InitStruct.Pin = ARD_D3_Pin;
  GPIO_InitStruct.Mode = GPIO_MODE_IT_RISING;
  GPIO_InitStruct.Pull = GPIO_NOPULL;
  HAL_GPIO_Init(ARD_D3_GPIO_Port, &GPIO_InitStruct);

  /*Configure GPIO pin : ARD_D6_Pin */
  GPIO_InitStruct.Pin = ARD_D6_Pin;
  GPIO_InitStruct.Mode = GPIO_MODE_ANALOG_ADC_CONTROL;
  GPIO_InitStruct.Pull = GPIO_NOPULL;
  HAL_GPIO_Init(ARD_D6_GPIO_Port, &GPIO_InitStruct);

  /*Configure GPIO pins : custom_led_Pin ISM43362_BOOT0_Pin ISM43362_WAKEUP_Pin LED2_Pin
                           SPSGRF_915_SDN_Pin ARD_D5_Pin SPSGRF_915_SPI3_CSN_Pin */
  GPIO_InitStruct.Pin = custom_led_Pin|ISM43362_BOOT0_Pin|ISM43362_WAKEUP_Pin|LED2_Pin
                          |SPSGRF_915_SDN_Pin|ARD_D5_Pin|SPSGRF_915_SPI3_CSN_Pin;
  GPIO_InitStruct.Mode = GPIO_MODE_OUTPUT_PP;
  GPIO_InitStruct.Pull = GPIO_NOPULL;
  GPIO_InitStruct.Speed = GPIO_SPEED_FREQ_LOW;
  HAL_GPIO_Init(GPIOB, &GPIO_InitStruct);

  /*Configure GPIO pins : LPS22HB_INT_DRDY_EXTI0_Pin LSM6DSL_INT1_EXTI11_Pin ARD_D2_Pin HTS221_DRDY_EXTI15_Pin
                           PMOD_IRQ_EXTI12_Pin */
  GPIO_InitStruct.Pin = LPS22HB_INT_DRDY_EXTI0_Pin|LSM6DSL_INT1_EXTI11_Pin|ARD_D2_Pin|HTS221_DRDY_EXTI15_Pin
                          |PMOD_IRQ_EXTI12_Pin;
  GPIO_InitStruct.Mode = GPIO_MODE_IT_RISING;
  GPIO_InitStruct.Pull = GPIO_NOPULL;
  HAL_GPIO_Init(GPIOD, &GPIO_InitStruct);

  /*Configure GPIO pins : USB_OTG_FS_PWR_EN_Pin SPBTLE_RF_SPI3_CSN_Pin PMOD_RESET_Pin STSAFE_A100_RESET_Pin */
  GPIO_InitStruct.Pin = USB_OTG_FS_PWR_EN_Pin|SPBTLE_RF_SPI3_CSN_Pin|PMOD_RESET_Pin|STSAFE_A100_RESET_Pin;
  GPIO_InitStruct.Mode = GPIO_MODE_OUTPUT_PP;
  GPIO_InitStruct.Pull = GPIO_NOPULL;
  GPIO_InitStruct.Speed = GPIO_SPEED_FREQ_LOW;
  HAL_GPIO_Init(GPIOD, &GPIO_InitStruct);

  /*Configure GPIO pins : VL53L0X_XSHUT_Pin LED3_WIFI__LED4_BLE_Pin */
  GPIO_InitStruct.Pin = VL53L0X_XSHUT_Pin|LED3_WIFI__LED4_BLE_Pin;
  GPIO_InitStruct.Mode = GPIO_MODE_OUTPUT_PP;
  GPIO_InitStruct.Pull = GPIO_NOPULL;
  GPIO_InitStruct.Speed = GPIO_SPEED_FREQ_LOW;
  HAL_GPIO_Init(GPIOC, &GPIO_InitStruct);

  /*Configure GPIO pins : VL53L0X_GPIO1_EXTI7_Pin LSM3MDL_DRDY_EXTI8_Pin */
  GPIO_InitStruct.Pin = VL53L0X_GPIO1_EXTI7_Pin|LSM3MDL_DRDY_EXTI8_Pin;
  GPIO_InitStruct.Mode = GPIO_MODE_IT_RISING;
  GPIO_InitStruct.Pull = GPIO_NOPULL;
  HAL_GPIO_Init(GPIOC, &GPIO_InitStruct);

  /*Configure GPIO pin : PMOD_SPI2_SCK_Pin */
  GPIO_InitStruct.Pin = PMOD_SPI2_SCK_Pin;
  GPIO_InitStruct.Mode = GPIO_MODE_AF_PP;
  GPIO_InitStruct.Pull = GPIO_NOPULL;
  GPIO_InitStruct.Speed = GPIO_SPEED_FREQ_VERY_HIGH;
  GPIO_InitStruct.Alternate = GPIO_AF5_SPI2;
  HAL_GPIO_Init(PMOD_SPI2_SCK_GPIO_Port, &GPIO_InitStruct);

  /*Configure GPIO pins : PMOD_UART2_CTS_Pin PMOD_UART2_RTS_Pin PMOD_UART2_TX_Pin PMOD_UART2_RX_Pin */
  GPIO_InitStruct.Pin = PMOD_UART2_CTS_Pin|PMOD_UART2_RTS_Pin|PMOD_UART2_TX_Pin|PMOD_UART2_RX_Pin;
  GPIO_InitStruct.Mode = GPIO_MODE_AF_PP;
  GPIO_InitStruct.Pull = GPIO_NOPULL;
  GPIO_InitStruct.Speed = GPIO_SPEED_FREQ_VERY_HIGH;
  GPIO_InitStruct.Alternate = GPIO_AF7_USART2;
  HAL_GPIO_Init(GPIOD, &GPIO_InitStruct);

  /*Configure GPIO pins : ARD_D15_Pin ARD_D14_Pin */
  GPIO_InitStruct.Pin = ARD_D15_Pin|ARD_D14_Pin;
  GPIO_InitStruct.Mode = GPIO_MODE_AF_OD;
  GPIO_InitStruct.Pull = GPIO_NOPULL;
  GPIO_InitStruct.Speed = GPIO_SPEED_FREQ_VERY_HIGH;
  GPIO_InitStruct.Alternate = GPIO_AF4_I2C1;
  HAL_GPIO_Init(GPIOB, &GPIO_InitStruct);

  /* EXTI interrupt init*/
  HAL_NVIC_SetPriority(EXTI9_5_IRQn, 0, 0);
  HAL_NVIC_EnableIRQ(EXTI9_5_IRQn);

  HAL_NVIC_SetPriority(EXTI15_10_IRQn, 0, 0);
  HAL_NVIC_EnableIRQ(EXTI15_10_IRQn);

}

/* USER CODE BEGIN 4 */
void HAL_GPIO_EXTI_Callback(uint16_t GPIO_Pin)
{
	if(GPIO_Pin == BUTTON_EXTI13_Pin)
	{
		demo_count = (demo_count + 1) % 4;
		if(demo_count == 0){
			demo0_count = 0;
		}else if (demo_count == 1){
			demo1_count = 0;
		}
		sprintf(buf, "UART1: current demo is: %d\r\n", demo_count + 1);
		HAL_UART_Transmit(&huart1, (uint8_t*)buf, strlen(buf), HAL_MAX_DELAY);
	}
}
/* USER CODE END 4 */

void Error_Handler(void)
{
  __disable_irq();
  while (1)
  {
  }
}
